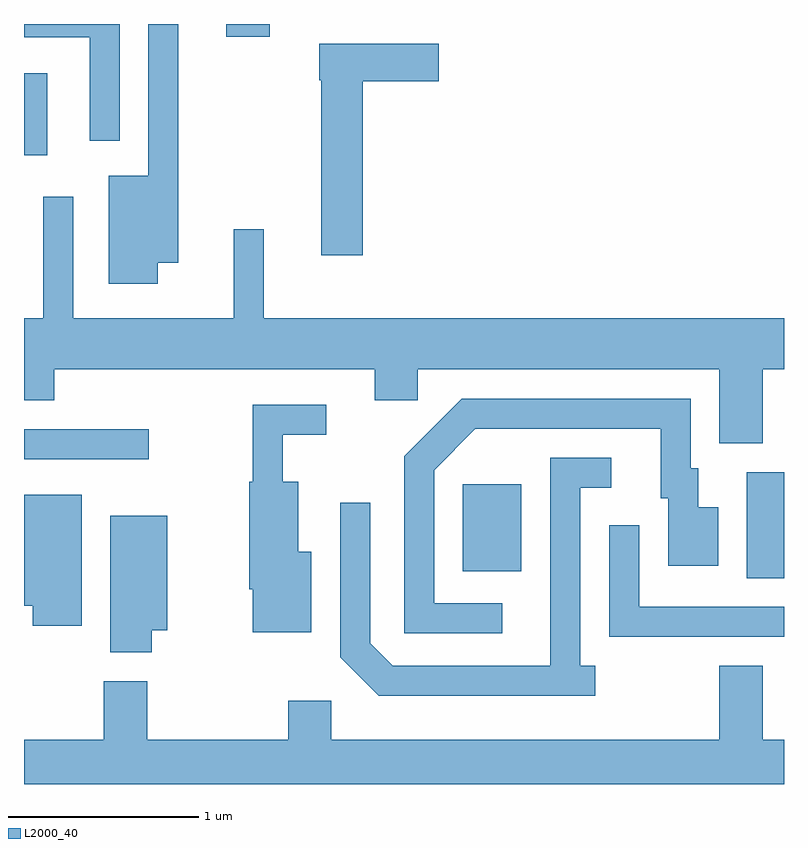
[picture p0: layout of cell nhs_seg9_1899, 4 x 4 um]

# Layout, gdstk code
import gdstk
lib = gdstk.Library(unit=1e-6, precision=1e-09)
def R(c, l, rs):  # rectangles x0, y0, x1, y1
    for r in rs: c.add(gdstk.rectangle(r[:2], r[2:], *l))
def P(c, l, *ps):  # polygons
    for p in ps: c.add(gdstk.Polygon(p, *l))
L2000_40 = (2000, 40)

nhs_seg9_1899 = lib.new_cell('nhs_seg9_1899')
R(nhs_seg9_1899, L2000_40, [(243.416,2079.516,243.611,2080.074), (241.921,2079.551,242.229,2080.009), (239.611,2080.141,240.268,2080.299), (239.611,2081.741,239.734,2082.174), (240.676,2082.366,240.904,2082.432)])
P(nhs_seg9_1899, L2000_40, [(240.314,2081.176),(240.424,2081.176),(240.424,2082.432),(240.266,2082.432),(240.266,2081.634),(240.056,2081.634),(240.056,2081.066),(240.314,2081.066)],
  [(240.114,2082.432),(239.611,2082.432),(239.611,2082.361),(239.956,2082.361),(239.956,2081.818),(240.114,2081.818)],
  [(241.394,2082.131),(241.794,2082.131),(241.794,2082.329),(241.166,2082.329),(241.166,2082.135),(241.176,2082.135),(241.176,2081.216),(241.394,2081.216)],
  [(243.499,2080.616),(243.611,2080.616),(243.611,2080.884),(240.874,2080.884),(240.874,2081.353),(240.716,2081.353),(240.716,2080.884),(239.869,2080.884),(239.869,2081.523),(239.711,2081.523),(239.711,2080.884),(239.611,2080.884),(239.611,2080.451),(239.769,2080.451),(239.769,2080.616),(241.456,2080.616),(241.456,2080.451),(241.684,2080.451),(241.684,2080.616),(243.271,2080.616),(243.271,2080.226),(243.499,2080.226)],
  [(242.128,2079.384),(241.769,2079.384),(241.769,2080.084),(241.987,2080.301),(242.961,2080.301),(242.961,2079.936),(243.001,2079.936),(243.001,2079.581),(243.264,2079.581),(243.264,2079.889),(243.159,2079.889),(243.159,2080.094),(243.119,2080.094),(243.119,2080.459),(241.914,2080.459),(241.611,2080.157),(241.611,2079.226),(242.128,2079.226)],
  [(241.124,2079.654),(241.054,2079.654),(241.054,2080.024),(240.974,2080.024),(240.974,2080.271),(241.203,2080.271),(241.203,2080.429),(240.816,2080.429),(240.816,2080.024),(240.796,2080.024),(240.796,2079.456),(240.816,2079.456),(240.816,2079.231),(241.124,2079.231)],
  [(242.618,2079.054),(242.539,2079.054),(242.539,2079.991),(242.703,2079.991),(242.703,2080.149),(242.381,2080.149),(242.381,2079.054),(241.552,2079.054),(241.434,2079.172),(241.434,2079.913),(241.276,2079.913),(241.276,2079.099),(241.479,2078.896),(242.618,2078.896)],
  [(239.914,2079.954),(239.611,2079.954),(239.611,2079.371),(239.656,2079.371),(239.656,2079.266),(239.914,2079.266)],
  [(240.284,2079.241),(240.364,2079.241),(240.364,2079.844),(240.066,2079.844),(240.066,2079.126),(240.284,2079.126)],
  [(243.611,2079.364),(242.849,2079.364),(242.849,2079.793),(242.691,2079.793),(242.691,2079.206),(243.611,2079.206)],
  [(243.611,2078.664),(243.499,2078.664),(243.499,2079.054),(243.271,2079.054),(243.271,2078.664),(241.229,2078.664),(241.229,2078.869),(241.001,2078.869),(241.001,2078.664),(240.259,2078.664),(240.259,2078.974),(240.031,2078.974),(240.031,2078.664),(239.611,2078.664),(239.611,2078.432),(243.611,2078.432)])

lib.write_gds('nhs_seg9_1899.gds')
